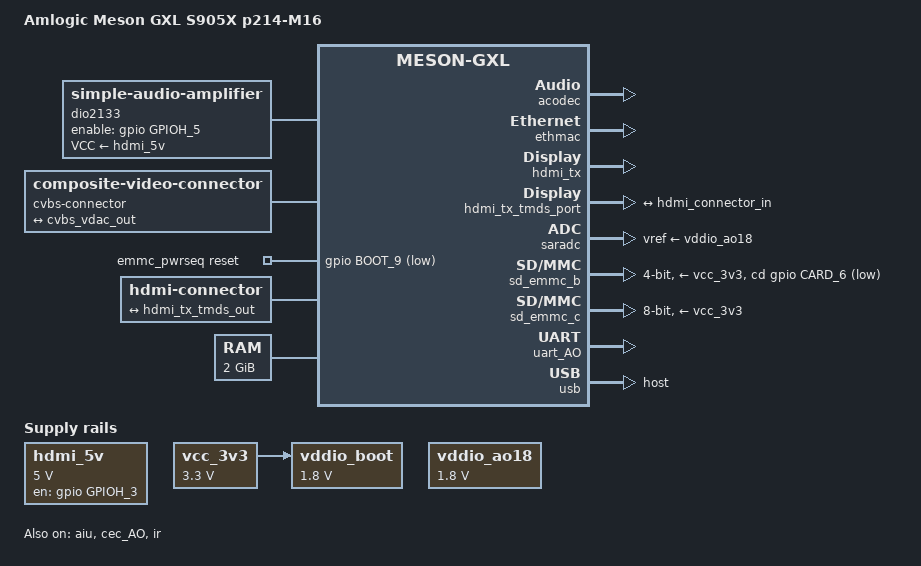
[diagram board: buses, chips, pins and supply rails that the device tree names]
// SPDX-License-Identifier: (GPL-2.0+ OR MIT)
/*
 * Copyright (c) 2017 BayLibre, SAS.
 * Author: Neil Armstrong <narmstrong@baylibre.com>
 * Author: Jerome Brunet <jbrunet@baylibre.com>
 */

/dts-v1/;

#include <dt-bindings/input/input.h>
#include <dt-bindings/sound/meson-aiu.h>

#include "meson-gxl-s905x.dtsi"

/ {
   compatible = "amlogic,p212", "amlogic,s905x", "amlogic,meson-gxl";
	model = "Amlogic Meson GXL S905X p214-M16";

	aliases {
		serial0 = &uart_AO;
		ethernet0 = &ethmac;
	};

	dio2133: analog-amplifier {
		compatible = "simple-audio-amplifier";
		sound-name-prefix = "AU2";
		VCC-supply = <&hdmi_5v>;
		enable-gpios = <&gpio GPIOH_5 GPIO_ACTIVE_HIGH>;
	};

	chosen {
		stdout-path = "serial0:115200n8";
	};

	cvbs-connector {
		compatible = "composite-video-connector";

		port {
			cvbs_connector_in: endpoint {
				remote-endpoint = <&cvbs_vdac_out>;
			};
		};
	};

	emmc_pwrseq: emmc-pwrseq {
		compatible = "mmc-pwrseq-emmc";
		reset-gpios = <&gpio BOOT_9 GPIO_ACTIVE_LOW>;
	};

	hdmi-connector {
		compatible = "hdmi-connector";
		type = "a";

		port {
			hdmi_connector_in: endpoint {
				remote-endpoint = <&hdmi_tx_tmds_out>;
			};
		};
	};


	memory@0 {
		device_type = "memory";
		reg = <0x0 0x0 0x0 0x80000000>;
	};

	hdmi_5v: regulator-hdmi-5v {
		compatible = "regulator-fixed";

		regulator-name = "HDMI_5V";
		regulator-min-microvolt = <5000000>;
		regulator-max-microvolt = <5000000>;

		gpio = <&gpio GPIOH_3 GPIO_ACTIVE_HIGH>;
		enable-active-high;
		regulator-always-on;
	};

	vcc_3v3: regulator-vcc_3v3 {
		compatible = "regulator-fixed";
		regulator-name = "VCC_3V3";
		regulator-min-microvolt = <3300000>;
		regulator-max-microvolt = <3300000>;
	};



	vddio_ao18: regulator-vddio_ao18 {
		compatible = "regulator-fixed";
		regulator-name = "VDDIO_AO18";
		regulator-min-microvolt = <1800000>;
		regulator-max-microvolt = <1800000>;
	};

	/* This is provided by LDOs on the eMMC daugther card */
	vddio_boot: regulator-vddio_boot {
		compatible = "regulator-fixed";
		regulator-name = "VDDIO_BOOT";
		regulator-min-microvolt = <1800000>;
		regulator-max-microvolt = <1800000>;
		vin-supply = <&vcc_3v3>;
	};

	sound {
		compatible = "amlogic,gx-sound-card";
		model = "S905X-P212";
		audio-aux-devs = <&dio2133>;
		audio-widgets = "Line", "Lineout";
		audio-routing = "AU2 INL", "ACODEC LOLN",
				"AU2 INR", "ACODEC LORN",
				"Lineout", "AU2 OUTL",
				"Lineout", "AU2 OUTR";
		assigned-clocks = <&clkc CLKID_MPLL0>,
				  <&clkc CLKID_MPLL1>,
				  <&clkc CLKID_MPLL2>;
		assigned-clock-parents = <0>, <0>, <0>;
		assigned-clock-rates = <294912000>,
				       <270950400>,
				       <393216000>;
		status = "okay";

		dai-link-0 {
			sound-dai = <&aiu AIU_CPU CPU_I2S_FIFO>;
		};

		dai-link-1 {
			sound-dai = <&aiu AIU_CPU CPU_I2S_ENCODER>;
			dai-format = "i2s";
			mclk-fs = <256>;

			codec-0 {
				sound-dai = <&aiu AIU_HDMI CTRL_I2S>;
			};

			codec-1 {
				sound-dai = <&aiu AIU_ACODEC CTRL_I2S>;
			};
		};

		dai-link-2 {
			sound-dai = <&aiu AIU_HDMI CTRL_OUT>;

			codec-0 {
				sound-dai = <&hdmi_tx>;
			};
		};

		dai-link-3 {
			sound-dai = <&aiu AIU_ACODEC CTRL_OUT>;

			codec-0 {
				sound-dai = <&acodec>;
			};
		};
	};
};

&acodec {
	AVDD-supply = <&vddio_ao18>;
	status = "okay";
};

&aiu {
	status = "okay";
};

&cec_AO {
	status = "okay";
	pinctrl-0 = <&ao_cec_pins>;
	pinctrl-names = "default";
	hdmi-phandle = <&hdmi_tx>;
};

&cvbs_vdac_port {
	cvbs_vdac_out: endpoint {
		remote-endpoint = <&cvbs_connector_in>;
	};
};

&ethmac {
	status = "okay";
};

&internal_phy {
	pinctrl-0 = <&eth_link_led_pins>, <&eth_act_led_pins>;
	pinctrl-names = "default";
};

&ir {
	status = "okay";
	pinctrl-0 = <&remote_input_ao_pins>;
	pinctrl-names = "default";
};

&hdmi_tx {
	status = "okay";
	pinctrl-0 = <&hdmi_hpd_pins>, <&hdmi_i2c_pins>;
	pinctrl-names = "default";
	hdmi-supply = <&hdmi_5v>;
};

&hdmi_tx_tmds_port {
	hdmi_tx_tmds_out: endpoint {
		remote-endpoint = <&hdmi_connector_in>;
	};
};


&saradc {
	status = "okay";
	vref-supply = <&vddio_ao18>;
};

/* SD card */
&sd_emmc_b {
	status = "okay";
	pinctrl-0 = <&sdcard_pins>;
	pinctrl-1 = <&sdcard_clk_gate_pins>;
	pinctrl-names = "default", "clk-gate";

	bus-width = <4>;
	cap-sd-highspeed;
	max-frequency = <50000000>;
	disable-wp;

	cd-gpios = <&gpio CARD_6 GPIO_ACTIVE_LOW>;

	vmmc-supply = <&vcc_3v3>;
	vqmmc-supply = <&vcc_card>;
};

/* eMMC */
&sd_emmc_c {
	status = "okay";
	pinctrl-0 = <&emmc_pins>, <&emmc_ds_pins>;
	pinctrl-1 = <&emmc_clk_gate_pins>;
	pinctrl-names = "default", "clk-gate";

	bus-width = <8>;
	cap-mmc-highspeed;
	mmc-ddr-1_8v;
	mmc-hs200-1_8v;
	max-frequency = <200000000>;
	disable-wp;

	mmc-pwrseq = <&emmc_pwrseq>;
	vmmc-supply = <&vcc_3v3>;
	vqmmc-supply = <&>;
};

&uart_AO {
	status = "okay";
	pinctrl-0 = <&uart_ao_a_pins>;
	pinctrl-names = "default";
};

&usb {
	status = "okay";
	dr_mode = "host";
};

&usb2_phy0 {
	/*
	 * even though the schematics don't show it:
	 * HDMI_5V is also used as supply for the USB VBUS.
	 */
	phy-supply = <&hdmi_5v>;
};
